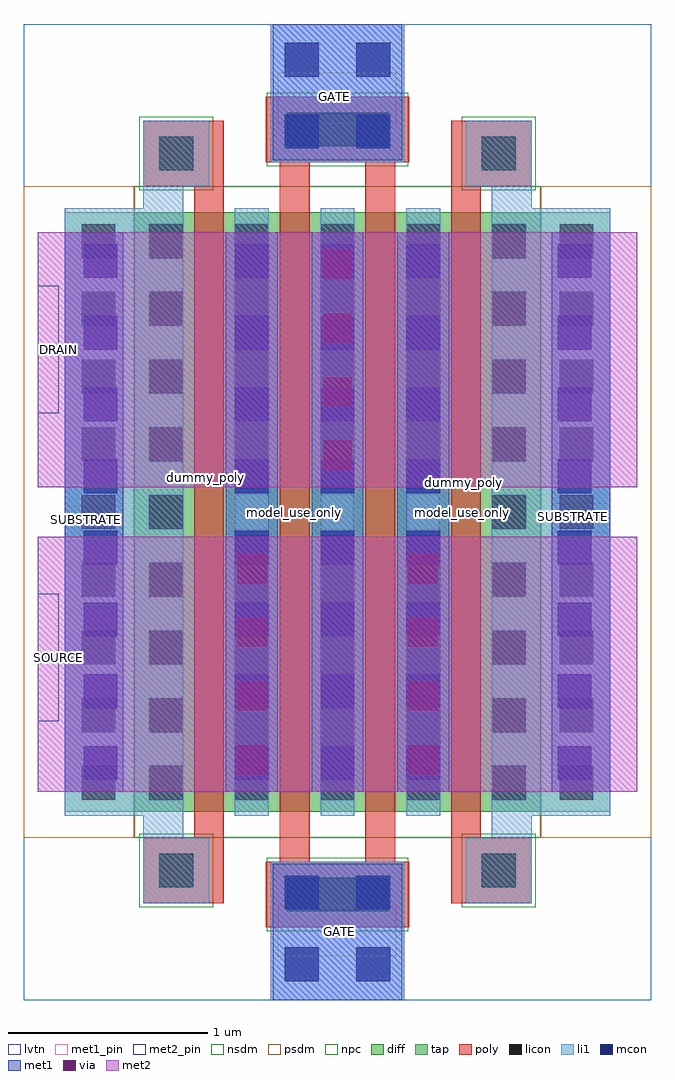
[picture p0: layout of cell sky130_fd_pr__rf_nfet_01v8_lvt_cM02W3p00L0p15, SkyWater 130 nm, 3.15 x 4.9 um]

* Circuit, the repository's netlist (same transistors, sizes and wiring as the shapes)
* Copyright 2020 The SkyWater PDK Authors
*
* Licensed under the Apache License, Version 2.0 (the "License");
* you may not use this file except in compliance with the License.
* You may obtain a copy of the License at
*
*     https://www.apache.org/licenses/LICENSE-2.0
*
* Unless required by applicable law or agreed to in writing, software
* distributed under the License is distributed on an "AS IS" BASIS,
* WITHOUT WARRANTIES OR CONDITIONS OF ANY KIND, either express or implied.
* See the License for the specific language governing permissions and
* limitations under the License.
*
* SPDX-License-Identifier: Apache-2.0


.subckt sky130_fd_pr__rf_nfet_01v8_lvt_cM02W3p00L0p15 DRAIN GATE SOURCE SUBSTRATE
X0 SOURCE SUBSTRATE SUBSTRATE SUBSTRATE sky130_fd_pr__nfet_01v8_lvt w=3.01e+06u l=150000u
X1 DRAIN GATE SOURCE SUBSTRATE sky130_fd_pr__nfet_01v8_lvt w=3.01e+06u l=150000u
X2 SUBSTRATE SUBSTRATE SOURCE SUBSTRATE sky130_fd_pr__nfet_01v8_lvt w=3.01e+06u l=150000u
X3 SOURCE GATE DRAIN SUBSTRATE sky130_fd_pr__nfet_01v8_lvt w=3.01e+06u l=150000u
.ends

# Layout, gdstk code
import gdstk
lib = gdstk.Library(unit=1e-6, precision=1e-09)
def R(c, l, rs):  # rectangles x0, y0, x1, y1
    for r in rs: c.add(gdstk.rectangle(r[:2], r[2:], *l))
def A(c, l, x, y, w, h, nx, ny, dx, dy):  # array of equal rectangles
    R(c, l, [(x+i*dx, y+j*dy, x+i*dx+w, y+j*dy+h) for i in range(nx) for j in range(ny)])
diff = (65, 20)
tap = (65, 44)
poly = (66, 20)
licon = (66, 44)
li1 = (67, 20)
mcon = (67, 44)
met1_pin = (68, 16)
met1 = (68, 20)
via = (68, 44)
met2_pin = (69, 16)
met2 = (69, 20)
nsdm = (93, 44)
psdm = (94, 20)
npc = (95, 20)
lvtn = (125, 44)

sky130_fd_pr__rf_nfet_01 = lib.new_cell('sky130_fd_pr__rf_nfet_01v8_lvt_cM02W3p00L0p15')
R(sky130_fd_pr__rf_nfet_01, diff, [(0.555,0.945,2.595,3.955)])
R(sky130_fd_pr__rf_nfet_01, tap, [(0.205,0.945,0.555,3.955), (2.595,0.945,2.945,3.955)])
R(sky130_fd_pr__rf_nfet_01, poly, [(1.215,0.365,1.935,0.695), (0.6,0.485,0.93,0.815), (0.855,0.485,1.005,4.415), (2.145,0.485,2.295,4.415), (2.22,0.485,2.55,0.815), (1.285,0.695,1.435,4.205), (1.715,0.695,1.865,4.205), (0.6,4.085,0.93,4.415), (2.22,4.085,2.55,4.415), (1.215,4.205,1.935,4.535)])
A(sky130_fd_pr__rf_nfet_01, licon, 0.29, 1.005, 0.17, 0.17, 1, 9, 0, 0.34)
A(sky130_fd_pr__rf_nfet_01, licon, 0.63, 1.005, 0.17, 0.17, 1, 9, 0, 0.34)
A(sky130_fd_pr__rf_nfet_01, licon, 1.06, 1.005, 0.17, 1.33, 3, 2, 0.43, 1.56)
A(sky130_fd_pr__rf_nfet_01, licon, 2.35, 1.005, 0.17, 0.17, 1, 9, 0, 0.34)
A(sky130_fd_pr__rf_nfet_01, licon, 2.69, 1.005, 0.17, 0.17, 1, 9, 0, 0.34)
R(sky130_fd_pr__rf_nfet_01, licon, [(1.32,0.445,1.83,0.615), (0.68,0.565,0.85,0.735), (2.3,0.565,2.47,0.735), (0.68,4.165,0.85,4.335), (2.3,4.165,2.47,4.335), (1.32,4.285,1.83,4.455)])
A(sky130_fd_pr__rf_nfet_01, li1, 1.06, 0.925, 0.17, 3.05, 3, 1, 0.43, 0)
R(sky130_fd_pr__rf_nfet_01, li1, [(1.24,0,1.91,0.695), (0.6,0.485,0.93,0.815), (2.22,0.485,2.55,0.815), (0.6,0.815,0.8,0.925), (2.35,0.815,2.55,0.925), (0.205,0.925,0.8,3.975), (2.35,0.925,2.945,3.975), (0.6,3.975,0.8,4.085), (2.35,3.975,2.55,4.085), (0.6,4.085,0.93,4.415), (2.22,4.085,2.55,4.415), (1.24,4.205,1.91,4.9)])
A(sky130_fd_pr__rf_nfet_01, mcon, 0.3, 1.105, 0.17, 0.17, 1, 8, 0, 0.36)
A(sky130_fd_pr__rf_nfet_01, mcon, 1.06, 1.105, 0.17, 0.17, 3, 8, 0.43, 0.36)
A(sky130_fd_pr__rf_nfet_01, mcon, 2.68, 1.105, 0.17, 0.17, 1, 8, 0, 0.36)
R(sky130_fd_pr__rf_nfet_01, mcon, [(1.31,0.095,1.48,0.265), (1.67,0.095,1.84,0.265), (1.31,0.455,1.48,0.625), (1.67,0.455,1.84,0.625), (1.31,4.275,1.48,4.445), (1.67,4.275,1.84,4.445), (1.31,4.635,1.48,4.805), (1.67,4.635,1.84,4.805)])
R(sky130_fd_pr__rf_nfet_01, met1_pin, [(1.275,0.22,1.87,0.475), (0.205,2.33,0.5,2.48), (2.65,2.345,2.945,2.495), (1.275,4.4,1.87,4.655)])
A(sky130_fd_pr__rf_nfet_01, met1, 1.015, 1.045, 0.26, 2.81, 3, 1, 0.43, 0)
R(sky130_fd_pr__rf_nfet_01, met1, [(1.25,0,1.9,0.685), (0.205,1.045,0.5,3.855), (1.015,1.045,1.275,2.325), (1.875,1.045,2.135,2.325), (2.65,1.045,2.945,3.855), (1.445,2.575,1.705,3.855), (1.25,4.215,1.9,4.9)])
A(sky130_fd_pr__rf_nfet_01, via, 1.07, 1.13, 0.15, 0.15, 1, 4, 0, 0.32)
A(sky130_fd_pr__rf_nfet_01, via, 1.93, 1.13, 0.15, 0.15, 1, 4, 0, 0.32)
A(sky130_fd_pr__rf_nfet_01, via, 1.5, 2.66, 0.15, 0.15, 1, 4, 0, 0.32)
R(sky130_fd_pr__rf_nfet_01, met2_pin, [(0.07,1.4,0.175,2.04), (0.07,2.945,0.175,3.585)])
R(sky130_fd_pr__rf_nfet_01, met2, [(0.07,1.045,3.08,2.325), (1.015,1.045,1.275,2.325), (1.875,1.045,2.135,2.325), (0.07,2.575,3.08,3.855), (1.445,2.575,1.705,3.855)])
R(sky130_fd_pr__rf_nfet_01, nsdm, [(0.555,0.815,2.595,4.085)])
R(sky130_fd_pr__rf_nfet_01, psdm, [(0,0.815,0.555,4.085), (2.595,0.815,3.15,4.085)])
R(sky130_fd_pr__rf_nfet_01, npc, [(1.22,0.345,1.93,0.715), (0.58,0.465,0.95,0.835), (2.2,0.465,2.57,0.835), (0.58,4.065,0.95,4.435), (2.2,4.065,2.57,4.435), (1.22,4.185,1.93,4.555)])
R(sky130_fd_pr__rf_nfet_01, lvtn, [(0,0,3.15,4.9)])
sky130_fd_pr__rf_nfet_01.add(gdstk.Label('dummy_poly', (0.91,2.625), layer=83, texttype=44))
sky130_fd_pr__rf_nfet_01.add(gdstk.Label('dummy_poly', (2.21,2.6), layer=83, texttype=44))
sky130_fd_pr__rf_nfet_01.add(gdstk.Label('GATE', (1.585,0.345), layer=68, texttype=5))
sky130_fd_pr__rf_nfet_01.add(gdstk.Label('GATE', (1.56,4.535), layer=68, texttype=5))
sky130_fd_pr__rf_nfet_01.add(gdstk.Label('SUBSTRATE', (0.315,2.41), layer=68, texttype=16))
sky130_fd_pr__rf_nfet_01.add(gdstk.Label('SUBSTRATE', (2.76,2.425), layer=68, texttype=16))
sky130_fd_pr__rf_nfet_01.add(gdstk.Label('model_use_only', (1.36,2.45), layer=66, texttype=83))
sky130_fd_pr__rf_nfet_01.add(gdstk.Label('model_use_only', (1.79,2.45), layer=66, texttype=83))
sky130_fd_pr__rf_nfet_01.add(gdstk.Label('model_use_only', (0.915,2.45), layer=66, texttype=83))
sky130_fd_pr__rf_nfet_01.add(gdstk.Label('model_use_only', (2.205,2.45), layer=66, texttype=83))
sky130_fd_pr__rf_nfet_01.add(gdstk.Label('SOURCE', (0.175,1.72), layer=69, texttype=5))
sky130_fd_pr__rf_nfet_01.add(gdstk.Label('DRAIN', (0.175,3.265), layer=69, texttype=5))

lib.write_gds('sky130_fd_pr__rf_nfet_01v8_lvt_cM02W3p00L0p15.gds')
